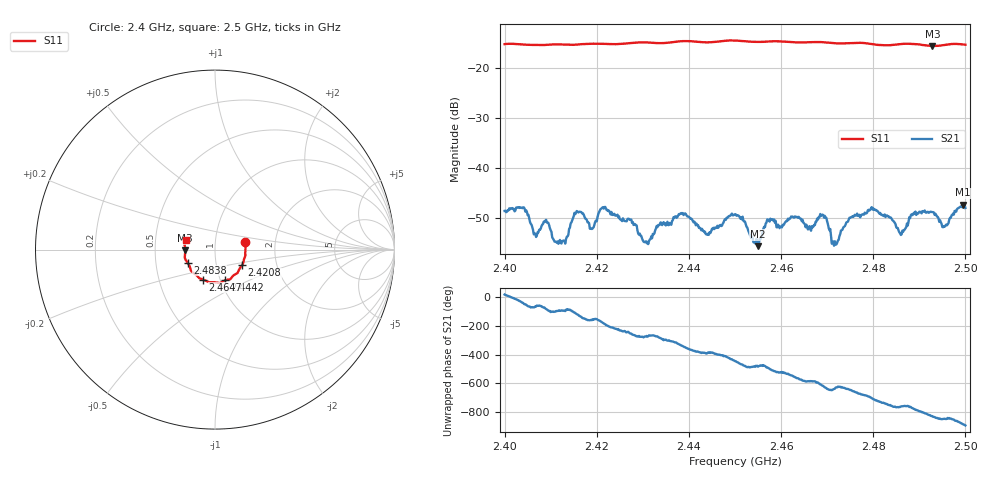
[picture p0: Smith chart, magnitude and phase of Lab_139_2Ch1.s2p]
# Hz S RI R 50
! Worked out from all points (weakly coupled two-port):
!   601 points, 2.4 GHz to 2.5 GHz, reference 50 ohm
!   highest |S21| = -47.41 dB at 2.4995 GHz (marker M1); lowest = -55.7 dB at 2.455 GHz (marker M2)
!   lowest |S11| = -15.6 dB at 2.4928 GHz (marker M3), VSWR 1.40, Z = 35.8 - j0.363 ohm
!   |S11| at or under -10 dB: start of sweep to end of sweep
!   S12 and S22 are empty: the file has one direction only
!   S11 on the Smith chart (normalised r, x): 2.4 GHz: 1.40, +0.12; 2.4208 GHz: 1.33, -0.24; 2.4442 GHz: 1.05, -0.37; 2.4647 GHz: 0.83, -0.29; 2.4838 GHz: 0.73, -0.11; 2.5 GHz: 0.72, +0.08
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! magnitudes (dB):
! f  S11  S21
! 2.4 GHz  -15.2  -48.6
! 2.4118 GHz  -15.3  -54.9
! 2.4167 GHz  -15.3  -48.9
! 2.419 GHz  -15.2  -52.2
! 2.4208 GHz  -15.2  -48.3
! 2.4307 GHz  -14.9  -54.7
! 2.4333 GHz  -15.0  -51.5
! 2.4442 GHz  -14.9  -53.2
! 2.45 GHz  -14.5  -49.3
! 2.455 GHz  -14.8  -55.7
! 2.4575 GHz  -14.7  -50.8
! 2.4647 GHz  -14.9  -50.4
! 2.4667 GHz  -14.8  -51.7
! 2.4693 GHz  -14.9  -50.0
! 2.4717 GHz  -15.1  -54.7
! 2.4755 GHz  -15.0  -49.7
! 2.4833 GHz  -15.5  -49.7
! 2.4838 GHz  -15.4  -50.0
! 2.4928 GHz  -15.6  -48.9
! 2.4955 GHz  -15.4  -51.8
! 2.4995 GHz  -15.3  -47.4
! 2.5 GHz  -15.4  -48.1
